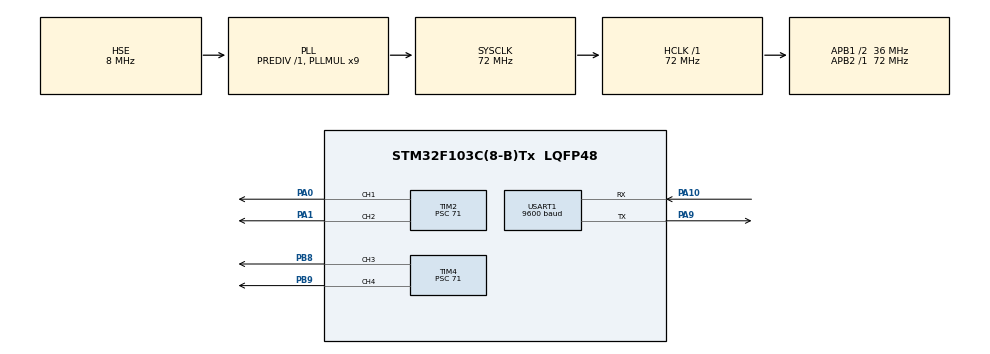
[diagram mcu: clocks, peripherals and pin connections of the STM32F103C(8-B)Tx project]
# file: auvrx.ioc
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Mcu.Family=STM32F1
Mcu.Name=STM32F103C(8-B)Tx
Mcu.Package=LQFP48
NVIC.PriorityGroup=NVIC_PRIORITYGROUP_4
NVIC.USART1_IRQn=true\:0\:0\:false\:false\:true\:true\:true\:true
PA0-WKUP.Signal=S_TIM2_CH1_ETR
PA1.Signal=S_TIM2_CH2
PA10.Mode=Asynchronous
PA10.Signal=USART1_RX
PA13.Mode=Serial_Wire
PA13.Signal=SYS_JTMS-SWDIO
PA14.Mode=Serial_Wire
PA14.Signal=SYS_JTCK-SWCLK
PA9.Mode=Asynchronous
PA9.Signal=USART1_TX
PB8.Signal=S_TIM4_CH3
PB9.Signal=S_TIM4_CH4
PD0-OSC_IN.Mode=HSE-External-Oscillator
PD0-OSC_IN.Signal=RCC_OSC_IN
PD1-OSC_OUT.Mode=HSE-External-Oscillator
PD1-OSC_OUT.Signal=RCC_OSC_OUT
ProjectManager.HeapSize=0x200
ProjectManager.StackSize=0x400
ProjectManager.TargetToolchain=MDK-ARM V5.32
RCC.AHBFreq_Value=72000000
RCC.APB1CLKDivider=RCC_HCLK_DIV2
RCC.APB1Freq_Value=36000000
RCC.APB1TimFreq_Value=72000000
RCC.APB2Freq_Value=72000000
RCC.APB2TimFreq_Value=72000000
RCC.HCLKFreq_Value=72000000
RCC.PLLMUL=RCC_PLL_MUL9
RCC.PLLSourceVirtual=RCC_PLLSOURCE_HSE
RCC.SYSCLKFreq_VALUE=72000000
RCC.SYSCLKSource=RCC_SYSCLKSOURCE_PLLCLK
RCC.USBFreq_Value=72000000
SH.S_TIM2_CH1_ETR.0=TIM2_CH1,PWM Generation1 CH1
SH.S_TIM2_CH2.0=TIM2_CH2,PWM Generation2 CH2
SH.S_TIM4_CH3.0=TIM4_CH3,PWM Generation3 CH3
SH.S_TIM4_CH4.0=TIM4_CH4,PWM Generation4 CH4
TIM2.Channel-PWM\ Generation1\ CH1=TIM_CHANNEL_1
TIM2.Channel-PWM\ Generation2\ CH2=TIM_CHANNEL_2
TIM2.OCMode=TIM_OCMODE_PWM1
TIM2.Period=19999
TIM2.Prescaler=71
TIM2.Pulse=1500
TIM4.Channel-PWM\ Generation3\ CH3=TIM_CHANNEL_3
TIM4.Channel-PWM\ Generation4\ CH4=TIM_CHANNEL_4
TIM4.OCMode=TIM_OCMODE_PWM1
TIM4.Period=19999
TIM4.Prescaler=71
TIM4.Pulse=1500
USART1.BaudRate=9600
USART1.VirtualMode=VM_ASYNC
board=custom

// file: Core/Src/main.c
/* USER CODE BEGIN Header */
/**
  ******************************************************************************
  * @file           : main.c
  * @brief          : Main program body
  ******************************************************************************
  * @attention
  *
  * Copyright (c) 2026 STMicroelectronics.
  * All rights reserved.
  *
  * This software is licensed under terms that can be found in the LICENSE file
  * in the root directory of this software component.
  * If no LICENSE file comes with this software, it is provided AS-IS.
  *
  ******************************************************************************
  */
/* USER CODE END Header */
#include "main.h"

TIM_HandleTypeDef htim2;
TIM_HandleTypeDef htim4;

UART_HandleTypeDef huart1;

void SystemClock_Config(void);
static void MX_GPIO_Init(void);
static void MX_TIM2_Init(void);
static void MX_TIM4_Init(void);
static void MX_USART1_UART_Init(void);

/* USER CODE BEGIN 0 */

#define RF_RX_MAX_LEN       7U
#define RF_FRAME_HEAD       0xFDU
#define RF_FRAME_TAIL       0xDFU
#define RF_ADDR_SHORT_INDEX 1U   /* 6 字节帧：FD addr2 addr1 key width DF */
#define RF_ADDR_LONG_INDEX  2U   /* 7 字节帧：FD time addr2 addr1 key width DF */
#define RF_CHANNEL_LONG_INDEX 3U
#define RF_KEY_SHORT_INDEX  3U   /* 6 字节帧：FD addr2 addr1 key width DF */
#define RF_KEY_LONG_INDEX   4U   /* 7 字节帧：FD time addr2 addr1 key width DF */
#define RF_ADDR_PROTOCOL    0xA5U
#define MOTOR_COUNT         4U
#define RF_KEY_FORWARD      0x01U
#define RF_KEY_STOP         0x02U
#define RF_KEY_REVERSE      0x03U
#define RF_KEY_STOP_EXT     0x00U
#define RF_KEY_FORWARD_BASE 0x10U
#define RF_KEY_REVERSE_BASE 0x80U
#define RF_KEY_FORWARD_MAX  (RF_KEY_FORWARD_BASE + 99U)  /* 0x73 */
#define RF_KEY_REVERSE_MAX  (RF_KEY_REVERSE_BASE + 99U)  /* 0xE3 */

#define MOTOR_PULSE_REVERSE 1200U
#define MOTOR_PULSE_STOP    1500U
#define MOTOR_PULSE_FORWARD 1800U
#define MOTOR_PULSE_SPAN    300U

static uint8_t rx_buffer[RF_RX_MAX_LEN];
static uint8_t rx_count;
static uint32_t last_frame_tick;

#define RF_LINK_TIMEOUT_MS 500U

/* M1/M2 使用 TIM4_CH3/CH4，M3/M4 使用 TIM2_CH1/CH2。 */
static void Motor_SetChannel(uint8_t index, uint16_t pulse)
{
  if (index == 0U)
  {
    __HAL_TIM_SET_COMPARE(&htim4, TIM_CHANNEL_3, pulse);
  }
  else if (index == 1U)
  {
    __HAL_TIM_SET_COMPARE(&htim4, TIM_CHANNEL_4, pulse);
  }
  else if (index == 2U)
  {
    __HAL_TIM_SET_COMPARE(&htim2, TIM_CHANNEL_1, pulse);
  }
  else if (index == 3U)
  {
    __HAL_TIM_SET_COMPARE(&htim2, TIM_CHANNEL_2, pulse);
  }
}

static void Motor_SetAll(uint16_t pulse)
{
  uint8_t index;

  for (index = 0U; index < MOTOR_COUNT; index++)
  {
    Motor_SetChannel(index, pulse);
  }
}

static uint16_t RF_PulseForKey(uint8_t key)
{
  uint8_t throttle;
  uint16_t pulse;

  if (key == RF_KEY_FORWARD)
  {
    return MOTOR_PULSE_FORWARD;
  }
  if (key == RF_KEY_REVERSE)
  {
    return MOTOR_PULSE_REVERSE;
  }
  if ((key == RF_KEY_STOP_EXT) || (key == RF_KEY_STOP))
  {
    return MOTOR_PULSE_STOP;
  }
  if ((key >= RF_KEY_FORWARD_BASE) && (key <= RF_KEY_FORWARD_MAX))
  {
    throttle = (uint8_t)(key - RF_KEY_FORWARD_BASE + 1U);
    pulse = (uint16_t)(MOTOR_PULSE_STOP +
                       ((uint32_t)throttle * MOTOR_PULSE_SPAN / 100U));
    return pulse;
  }
  if ((key >= RF_KEY_REVERSE_BASE) && (key <= RF_KEY_REVERSE_MAX))
  {
    throttle = (uint8_t)(key - RF_KEY_REVERSE_BASE + 1U);
    pulse = (uint16_t)(MOTOR_PULSE_STOP -
                       ((uint32_t)throttle * MOTOR_PULSE_SPAN / 100U));
    return pulse;
  }
  return MOTOR_PULSE_STOP;
}

static void RF_ApplyFrame(uint8_t addr2, uint8_t channel, uint8_t key)
{
  if ((addr2 == RF_ADDR_PROTOCOL) &&
      (channel >= 1U) &&
      (channel <= MOTOR_COUNT))
  {
    Motor_SetChannel((uint8_t)(channel - 1U), RF_PulseForKey(key));
  }
  else
  {
    Motor_SetAll(RF_PulseForKey(key));
  }
  last_frame_tick = HAL_GetTick();
}

static void RF_ParseByte(uint8_t ch)
{
  if (ch == RF_FRAME_HEAD)
  {
    rx_count = 0U;
    rx_buffer[rx_count] = ch;
    rx_count++;
    return;
  }

  if ((rx_count == 0U) || (rx_count >= RF_RX_MAX_LEN))
  {
    return;
  }

  rx_buffer[rx_count] = ch;
  rx_count++;

  /* YS-RF34T 默认输出 6 字节：FD addr2 addr1 key width DF */
  if ((rx_count == 6U) && (rx_buffer[5] == RF_FRAME_TAIL))
  {
    RF_ApplyFrame(rx_buffer[RF_ADDR_SHORT_INDEX],
                  rx_buffer[RF_ADDR_SHORT_INDEX + 1U],
                  rx_buffer[RF_KEY_SHORT_INDEX]);
    rx_count = 0U;
    return;
  }

  /* 兼容 7 字节格式：FD time addr2 addr1 key width DF */
  if (rx_count == RF_RX_MAX_LEN)
  {
    if (rx_buffer[RF_RX_MAX_LEN - 1U] == RF_FRAME_TAIL)
    {
      RF_ApplyFrame(rx_buffer[RF_ADDR_LONG_INDEX],
                    rx_buffer[RF_CHANNEL_LONG_INDEX],
                    rx_buffer[RF_KEY_LONG_INDEX]);
    }
    rx_count = 0U;
  }
}

/* USER CODE END 0 */

int main(void)
{

  /* MCU Configuration--------------------------------------------------------*/

  /* Reset of all peripherals, Initializes the Flash interface and the Systick. */
  HAL_Init();

  /* Configure the system clock */
  SystemClock_Config();

  /* Initialize all configured peripherals */
  MX_GPIO_Init();
  MX_TIM2_Init();
  MX_TIM4_Init();
  MX_USART1_UART_Init();
  /* USER CODE BEGIN 2 */

  HAL_TIM_PWM_Start(&htim2, TIM_CHANNEL_1);
  HAL_TIM_PWM_Start(&htim2, TIM_CHANNEL_2);
  HAL_TIM_PWM_Start(&htim4, TIM_CHANNEL_3);
  HAL_TIM_PWM_Start(&htim4, TIM_CHANNEL_4);
  Motor_SetAll(MOTOR_PULSE_STOP);
  HAL_Delay(3000U);      /* 四路输出中位脉宽，等待两个电调完成解锁 */

  /* 解锁期间 USART 已经在接收，先清掉残留字节和溢出标志。 */
  while (__HAL_UART_GET_FLAG(&huart1, UART_FLAG_RXNE) != RESET)
  {
    (void)huart1.Instance->DR;
  }
  __HAL_UART_CLEAR_OREFLAG(&huart1);

  last_frame_tick = HAL_GetTick();

  /* USER CODE END 2 */

  /* Infinite loop */
  while (1)
  {

    /* USER CODE BEGIN 3 */
    uint8_t ch;

    if (HAL_UART_Receive(&huart1, &ch, 1U, 20U) == HAL_OK)
    {
      RF_ParseByte(ch);
    }

    if ((HAL_GetTick() - last_frame_tick) > RF_LINK_TIMEOUT_MS)
    {
      Motor_SetAll(MOTOR_PULSE_STOP);
    }
  }
  /* USER CODE END 3 */
}

void SystemClock_Config(void)
{
  RCC_OscInitTypeDef RCC_OscInitStruct = {0};
  RCC_ClkInitTypeDef RCC_ClkInitStruct = {0};

  /** Initializes the RCC Oscillators according to the specified parameters
  * in the RCC_OscInitTypeDef structure.
  */
  RCC_OscInitStruct.OscillatorType = RCC_OSCILLATORTYPE_HSE;
  RCC_OscInitStruct.HSEState = RCC_HSE_ON;
  RCC_OscInitStruct.HSEPredivValue = RCC_HSE_PREDIV_DIV1;
  RCC_OscInitStruct.HSIState = RCC_HSI_ON;
  RCC_OscInitStruct.PLL.PLLState = RCC_PLL_ON;
  RCC_OscInitStruct.PLL.PLLSource = RCC_PLLSOURCE_HSE;
  RCC_OscInitStruct.PLL.PLLMUL = RCC_PLL_MUL9;
  if (HAL_RCC_OscConfig(&RCC_OscInitStruct) != HAL_OK)
  {
    Error_Handler();
  }

  /** Initializes the CPU, AHB and APB buses clocks
  */
  RCC_ClkInitStruct.ClockType = RCC_CLOCKTYPE_HCLK|RCC_CLOCKTYPE_SYSCLK
                              |RCC_CLOCKTYPE_PCLK1|RCC_CLOCKTYPE_PCLK2;
  RCC_ClkInitStruct.SYSCLKSource = RCC_SYSCLKSOURCE_PLLCLK;
  RCC_ClkInitStruct.AHBCLKDivider = RCC_SYSCLK_DIV1;
  RCC_ClkInitStruct.APB1CLKDivider = RCC_HCLK_DIV2;
  RCC_ClkInitStruct.APB2CLKDivider = RCC_HCLK_DIV1;

  if (HAL_RCC_ClockConfig(&RCC_ClkInitStruct, FLASH_LATENCY_2) != HAL_OK)
  {
    Error_Handler();
  }
}

static void MX_TIM2_Init(void)
{

  TIM_MasterConfigTypeDef sMasterConfig = {0};
  TIM_OC_InitTypeDef sConfigOC = {0};

  htim2.Instance = TIM2;
  htim2.Init.Prescaler = 71;
  htim2.Init.CounterMode = TIM_COUNTERMODE_UP;
  htim2.Init.Period = 19999;
  htim2.Init.ClockDivision = TIM_CLOCKDIVISION_DIV1;
  htim2.Init.AutoReloadPreload = TIM_AUTORELOAD_PRELOAD_DISABLE;
  if (HAL_TIM_PWM_Init(&htim2) != HAL_OK)
  {
    Error_Handler();
  }
  sMasterConfig.MasterOutputTrigger = TIM_TRGO_RESET;
  sMasterConfig.MasterSlaveMode = TIM_MASTERSLAVEMODE_DISABLE;
  if (HAL_TIMEx_MasterConfigSynchronization(&htim2, &sMasterConfig) != HAL_OK)
  {
    Error_Handler();
  }
  sConfigOC.OCMode = TIM_OCMODE_PWM1;
  sConfigOC.Pulse = 1500;
  sConfigOC.OCPolarity = TIM_OCPOLARITY_HIGH;
  sConfigOC.OCFastMode = TIM_OCFAST_DISABLE;
  if (HAL_TIM_PWM_ConfigChannel(&htim2, &sConfigOC, TIM_CHANNEL_1) != HAL_OK)
  {
    Error_Handler();
  }
  if (HAL_TIM_PWM_ConfigChannel(&htim2, &sConfigOC, TIM_CHANNEL_2) != HAL_OK)
  {
    Error_Handler();
  }
  HAL_TIM_MspPostInit(&htim2);

}

static void MX_TIM4_Init(void)
{

  TIM_MasterConfigTypeDef sMasterConfig = {0};
  TIM_OC_InitTypeDef sConfigOC = {0};

  htim4.Instance = TIM4;
  htim4.Init.Prescaler = 71;
  htim4.Init.CounterMode = TIM_COUNTERMODE_UP;
  htim4.Init.Period = 19999;
  htim4.Init.ClockDivision = TIM_CLOCKDIVISION_DIV1;
  htim4.Init.AutoReloadPreload = TIM_AUTORELOAD_PRELOAD_DISABLE;
  if (HAL_TIM_PWM_Init(&htim4) != HAL_OK)
  {
    Error_Handler();
  }
  sMasterConfig.MasterOutputTrigger = TIM_TRGO_RESET;
  sMasterConfig.MasterSlaveMode = TIM_MASTERSLAVEMODE_DISABLE;
  if (HAL_TIMEx_MasterConfigSynchronization(&htim4, &sMasterConfig) != HAL_OK)
  {
    Error_Handler();
  }
  sConfigOC.OCMode = TIM_OCMODE_PWM1;
  sConfigOC.Pulse = 1500;
  sConfigOC.OCPolarity = TIM_OCPOLARITY_HIGH;
  sConfigOC.OCFastMode = TIM_OCFAST_DISABLE;
  if (HAL_TIM_PWM_ConfigChannel(&htim4, &sConfigOC, TIM_CHANNEL_3) != HAL_OK)
  {
    Error_Handler();
  }
  if (HAL_TIM_PWM_ConfigChannel(&htim4, &sConfigOC, TIM_CHANNEL_4) != HAL_OK)
  {
    Error_Handler();
  }
  HAL_TIM_MspPostInit(&htim4);

}

static void MX_USART1_UART_Init(void)
{

  huart1.Instance = USART1;
  huart1.Init.BaudRate = 9600;
  huart1.Init.WordLength = UART_WORDLENGTH_8B;
  huart1.Init.StopBits = UART_STOPBITS_1;
  huart1.Init.Parity = UART_PARITY_NONE;
  huart1.Init.Mode = UART_MODE_TX_RX;
  huart1.Init.HwFlowCtl = UART_HWCONTROL_NONE;
  huart1.Init.OverSampling = UART_OVERSAMPLING_16;
  if (HAL_UART_Init(&huart1) != HAL_OK)
  {
    Error_Handler();
  }

}

static void MX_GPIO_Init(void)
{

  /* GPIO Ports Clock Enable */
  __HAL_RCC_GPIOD_CLK_ENABLE();
  __HAL_RCC_GPIOA_CLK_ENABLE();
  __HAL_RCC_GPIOB_CLK_ENABLE();

}

void Error_Handler(void)
{
  __disable_irq();
  while (1)
  {
  }
}
